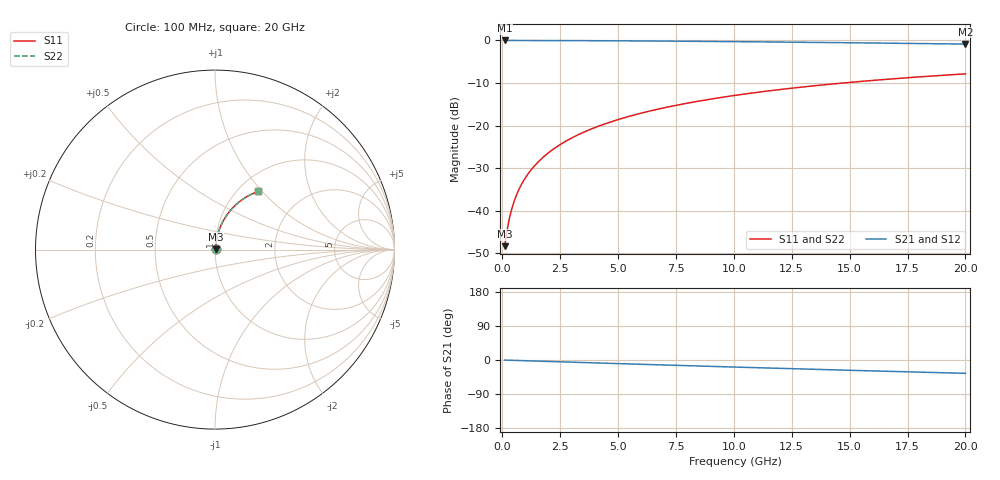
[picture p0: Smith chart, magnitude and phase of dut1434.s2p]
! Touchstone file exported from HFSS 2026.1.0
!  File:  C:/ffzhzh/LocalFiles/Ansys_Project_Files/temp_train_TMRDL_1434_1783166933_18472.aedt
!  Generated:  08:10:04 PM Jul  4, 2026
!  Design:  TMRDL
!  Project:  temp_train_TMRDL_1434_1783166933_18472
! Variables:
!  h_bsmrdl = 2um
!  h_ox = 20um
!  h_rdl = 5um
!  h_sub = 80um
!  h_tmrdl = 4.79um
!  h_tsv = 80um
!  h_via = 3um
!  l_bsmrdl = 300um
!  l_sub = 848.63um
!  l_tmrdl = 448.63um
!  m_sub = 200um
!  pitch = 46.54um
!  r_tsv = 6um
!  s_tmrdl = 10um
!  w_bsmrdl = 18um
!  w_sub = 500um
!  w_tmrdl = 11.56um
!  x_tsv_center1 = 454.41um
!  x_tsv_center2 = 772.41um
!  x_tsv_center3 = 1232.6um
!  x_tsv_center4 = 1550.6um
!  x_tsv_center5 = 2010.79um
!  x_tsv_center6 = 2328.79um
# GHz S MA R 50.000000
! Terminal data exported
! Port[1] = TM_RDL1_1_T1
! Port[2] = TM_RDL1_1_T2
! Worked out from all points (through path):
!   200 points, 100 MHz to 20 GHz, reference 50 ohm
!   highest |S21| = -0.03 dB at 100 MHz (marker M1); lowest = -0.9 dB at 20 GHz (marker M2)
!   group delay of S21, straight-line fit = 4.89 ps
!   lowest |S11| = -48.3 dB at 100 MHz (marker M3), VSWR 1.01, Z = 50.3 + j0.249 ohm
!   |S11| at or under -10 dB: start of sweep to 14.74 GHz
!   |S22| runs from -48.3 to -7.9 dB; largest |S21 - S12| = 2.1e-15
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0.1  0.003839 40.1  0.9971 -0.2  0.9971 -0.2  0.003839 40.1
! Gamma 0 0 0 0
! Port Impedance 50 0 50 0
0.2  0.005775 58.6  0.997 -0.4  0.997 -0.4  0.005775 58.6
0.3  0.007995 67.1  0.9969 -0.6  0.9969 -0.6  0.007995 67.1
0.4  0.0103 71.7  0.9969 -0.8  0.9969 -0.8  0.0103 71.7
0.5  0.01263 74.6  0.9968 -1.0  0.9968 -1.0  0.01263 74.6
0.6  0.01498 76.4  0.9967 -1.2  0.9967 -1.2  0.01498 76.4
0.8  0.01968 78.8  0.9965 -1.6  0.9965 -1.6  0.01968 78.8
1.1  0.02677 80.5  0.9963 -2.1  0.9963 -2.1  0.02677 80.5
1.5  0.03623 81.4  0.9958 -2.9  0.9958 -2.9  0.03623 81.4
1.8  0.04332 81.6  0.9954 -3.5  0.9954 -3.5  0.04332 81.6
2.1  0.0504 81.6  0.9949 -4.1  0.9949 -4.1  0.0504 81.6
2.7  0.06451 81.1  0.9938 -5.2  0.9938 -5.2  0.06451 81.1
3.5  0.08316 80.1  0.992 -6.7  0.992 -6.7  0.08316 80.1
4.2  0.09928 79.1  0.9901 -8.0  0.9901 -8.0  0.09928 79.1
5  0.1175 77.8  0.9876 -9.5  0.9876 -9.5  0.1175 77.8
5.9  0.1376 76.3  0.9844 -11.2  0.9844 -11.2  0.1376 76.3
6.8  0.1574 74.7  0.9809 -12.9  0.9809 -12.9  0.1574 74.7
8.3  0.1897 72.2  0.9744 -15.6  0.9744 -15.6  0.1897 72.2
10.1  0.227 69.1  0.9656 -18.8  0.9656 -18.8  0.227 69.1
13.4  0.2916 63.7  0.9471 -24.5  0.9471 -24.5  0.2916 63.7
16.7  0.3507 58.4  0.9263 -30.0  0.9263 -30.0  0.3507 58.4
20  0.404 53.3  0.904 -35.2  0.904 -35.2  0.404 53.3
